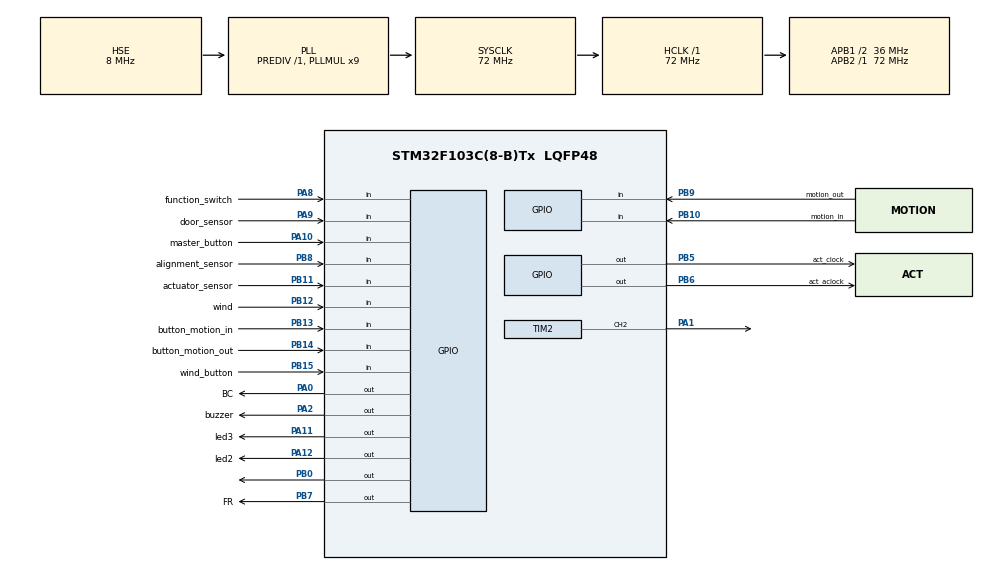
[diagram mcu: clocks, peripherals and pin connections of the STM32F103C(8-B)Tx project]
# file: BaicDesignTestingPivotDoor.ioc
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Mcu.Family=STM32F1
Mcu.Name=STM32F103C(8-B)Tx
Mcu.Package=LQFP48
NVIC.PriorityGroup=NVIC_PRIORITYGROUP_4
PA0-WKUP.GPIO_Label=BC
PA0-WKUP.Signal=GPIO_Output
PA1.Signal=S_TIM2_CH2
PA10.GPIO_Label=master_button
PA10.GPIO_PuPd=GPIO_PULLDOWN
PA10.Signal=GPIO_Input
PA11.GPIO_Label=led3
PA11.GPIO_ModeDefaultOutputPP=GPIO_MODE_OUTPUT_OD
PA11.GPIO_PuPd=GPIO_PULLUP
PA11.PinState=GPIO_PIN_SET
PA11.Signal=GPIO_Output
PA12.GPIO_Label=led2
PA12.GPIO_ModeDefaultOutputPP=GPIO_MODE_OUTPUT_OD
PA12.GPIO_PuPd=GPIO_PULLUP
PA12.PinState=GPIO_PIN_SET
PA12.Signal=GPIO_Output
PA13.Mode=Serial_Wire
PA13.Signal=SYS_JTMS-SWDIO
PA14.Mode=Serial_Wire
PA14.Signal=SYS_JTCK-SWCLK
PA2.GPIO_Label=buzzer
PA2.Signal=GPIO_Output
PA8.GPIO_Label=function_switch
PA8.GPIO_PuPd=GPIO_PULLDOWN
PA8.Signal=GPIO_Input
PA9.GPIO_Label=door_sensor
PA9.GPIO_PuPd=GPIO_PULLDOWN
PA9.Signal=GPIO_Input
PB0.Signal=GPIO_Output
PB10.GPIO_Label=motion_in
PB10.GPIO_PuPd=GPIO_PULLDOWN
PB10.Signal=GPIO_Input
PB11.GPIO_Label=actuator_sensor
PB11.GPIO_PuPd=GPIO_PULLUP
PB11.Signal=GPIO_Input
PB12.GPIO_Label=wind
PB12.Signal=GPIO_Input
PB13.GPIO_Label=button_motion_in
PB13.GPIO_PuPd=GPIO_PULLDOWN
PB13.Signal=GPIO_Input
PB14.GPIO_Label=button_motion_out
PB14.GPIO_PuPd=GPIO_PULLDOWN
PB14.Signal=GPIO_Input
PB15.GPIO_Label=wind_button
PB15.Signal=GPIO_Input
PB5.GPIO_Label=act_clock
PB5.Signal=GPIO_Output
PB6.GPIO_Label=act_aclock
PB6.Signal=GPIO_Output
PB7.GPIO_Label=FR
PB7.Signal=GPIO_Output
PB8.GPIO_Label=alignment_sensor
PB8.GPIO_PuPd=GPIO_PULLUP
PB8.Signal=GPIO_Input
PB9.GPIO_Label=motion_out
PB9.GPIO_PuPd=GPIO_PULLDOWN
PB9.Signal=GPIO_Input
PD0-OSC_IN.Mode=HSE-External-Oscillator
PD0-OSC_IN.Signal=RCC_OSC_IN
PD1-OSC_OUT.Mode=HSE-External-Oscillator
PD1-OSC_OUT.Signal=RCC_OSC_OUT
ProjectManager.HeapSize=0x200
ProjectManager.StackSize=0x400
ProjectManager.TargetToolchain=STM32CubeIDE
RCC.AHBFreq_Value=72000000
RCC.APB1CLKDivider=RCC_HCLK_DIV2
RCC.APB1Freq_Value=36000000
RCC.APB1TimFreq_Value=72000000
RCC.APB2Freq_Value=72000000
RCC.APB2TimFreq_Value=72000000
RCC.HCLKFreq_Value=72000000
RCC.PLLMUL=RCC_PLL_MUL9
RCC.PLLSourceVirtual=RCC_PLLSOURCE_HSE
RCC.SYSCLKFreq_VALUE=72000000
RCC.SYSCLKSource=RCC_SYSCLKSOURCE_PLLCLK
RCC.USBFreq_Value=72000000
SH.S_TIM2_CH2.0=TIM2_CH2,PWM Generation2 CH2
TIM2.AutoReloadPreload=TIM_AUTORELOAD_PRELOAD_ENABLE
TIM2.Channel-PWM\ Generation2\ CH2=TIM_CHANNEL_2
TIM2.OCPolarity_2=TIM_OCPOLARITY_LOW
TIM2.Period=999
TIM2.Prescaler=71
TIM2.Pulse-PWM\ Generation2\ CH2=0
VP_TIM2_VS_ClockSourceINT.Mode=Internal
board=custom

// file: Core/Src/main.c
/* USER CODE BEGIN Header */
/**
  ******************************************************************************
  * @file           : main.c
  * @brief          : Main program body
  ******************************************************************************
  * @attention
  *
  * Copyright (c) 2022 STMicroelectronics.
  * All rights reserved.
  *
  * This software is licensed under terms that can be found in the LICENSE file
  * in the root directory of this software component.
  * If no LICENSE file comes with this software, it is provided AS-IS.
  *
  ******************************************************************************
  */
/* USER CODE END Header */
#include "main.h"

 TIM_HandleTypeDef htim2;

/* USER CODE BEGIN PV */
 //uint32_t count = 0;
/* USER CODE END PV */

void SystemClock_Config(void);
static void MX_GPIO_Init(void);
static void MX_TIM2_Init(void);
/* USER CODE BEGIN PFP */
void initial_system_state(void);
void normal_state(uint8_t);
uint8_t manager_auth(void);
void direction(uint8_t); //O-to open;C- to close
void brake(uint8_t); //1- to brake;0- to release brake
void move_actuator(uint8_t); // L- to lock; U-to unlock;S-to stop
uint8_t actuator_state(void); // returns high when locked
uint8_t door_state(void); // returns high when closed
uint8_t select_system(void); //returns 1-normal operation;return 2-wind sensor master
uint8_t person_present(uint8_t); //input-F-to check front sensor;B-to check back sensor --> returns 1-person present;0-no person
uint8_t wind_sensor_state(void); //returns 1-wind speed high;returns 2-wind speed low
void emergency_close(void);
void remained_open(void);
uint8_t countstates(uint8_t[]);
void move_motor(uint8_t, uint8_t);
/* USER CODE END PFP */

/* USER CODE BEGIN 0 */
#define TOTAL_PULSES 2015
/* USER CODE END 0 */

int main(void)
{

  /* MCU Configuration--------------------------------------------------------*/

  /* Reset of all peripherals, Initializes the Flash interface and the Systick. */
  HAL_Init();

  /* USER CODE BEGIN Init */
 // int32_t CH1_DC = 800;

  /* USER CODE END Init */

  /* Configure the system clock */
  SystemClock_Config();

  /* Initialize all configured peripherals */
  MX_GPIO_Init();
  MX_TIM2_Init();
  /* USER CODE BEGIN 2 */
  HAL_TIM_PWM_Start(&htim2, TIM_CHANNEL_2);
  TIM2->CCR2 =800;
  HAL_Delay(10);
  	initial_system_state();
  /* USER CODE END 2 */

  /* Infinite loop */
  /* USER CODE BEGIN WHILE */

  	while (1) {

  		if (HAL_GPIO_ReadPin(door_sensor_GPIO_Port, door_sensor_Pin)) {
  			remained_open();
  		}
    /* USER CODE END WHILE */

    /* USER CODE BEGIN 3 */
  		/* USER CODE BEGIN 3 */
  				uint8_t select_switch = select_system(); // Selection between motion sensor and wind sensor

  				switch (select_switch) {
  				case 1:
  					TIM2->CCR2 = 900;
  					normal_state(0);
  					break;

  				case 2:
  					if (wind_sensor_state()) {
  						if (!manager_auth()) {
  							emergency_close();
  							while (!manager_auth())
  								;
  						}
  					}
  					normal_state(1);

  					break;
  				}
  			}

  /* USER CODE END 3 */
}

void SystemClock_Config(void)
{
  RCC_OscInitTypeDef RCC_OscInitStruct = {0};
  RCC_ClkInitTypeDef RCC_ClkInitStruct = {0};

  /** Initializes the RCC Oscillators according to the specified parameters
  * in the RCC_OscInitTypeDef structure.
  */
  RCC_OscInitStruct.OscillatorType = RCC_OSCILLATORTYPE_HSE;
  RCC_OscInitStruct.HSEState = RCC_HSE_ON;
  RCC_OscInitStruct.HSEPredivValue = RCC_HSE_PREDIV_DIV1;
  RCC_OscInitStruct.HSIState = RCC_HSI_ON;
  RCC_OscInitStruct.PLL.PLLState = RCC_PLL_ON;
  RCC_OscInitStruct.PLL.PLLSource = RCC_PLLSOURCE_HSE;
  RCC_OscInitStruct.PLL.PLLMUL = RCC_PLL_MUL9;
  if (HAL_RCC_OscConfig(&RCC_OscInitStruct) != HAL_OK)
  {
    Error_Handler();
  }

  /** Initializes the CPU, AHB and APB buses clocks
  */
  RCC_ClkInitStruct.ClockType = RCC_CLOCKTYPE_HCLK|RCC_CLOCKTYPE_SYSCLK
                              |RCC_CLOCKTYPE_PCLK1|RCC_CLOCKTYPE_PCLK2;
  RCC_ClkInitStruct.SYSCLKSource = RCC_SYSCLKSOURCE_PLLCLK;
  RCC_ClkInitStruct.AHBCLKDivider = RCC_SYSCLK_DIV1;
  RCC_ClkInitStruct.APB1CLKDivider = RCC_HCLK_DIV2;
  RCC_ClkInitStruct.APB2CLKDivider = RCC_HCLK_DIV1;

  if (HAL_RCC_ClockConfig(&RCC_ClkInitStruct, FLASH_LATENCY_2) != HAL_OK)
  {
    Error_Handler();
  }
}

static void MX_TIM2_Init(void)
{

  TIM_ClockConfigTypeDef sClockSourceConfig = {0};
  TIM_MasterConfigTypeDef sMasterConfig = {0};
  TIM_OC_InitTypeDef sConfigOC = {0};

  htim2.Instance = TIM2;
  htim2.Init.Prescaler = 71;
  htim2.Init.CounterMode = TIM_COUNTERMODE_UP;
  htim2.Init.Period = 999;
  htim2.Init.ClockDivision = TIM_CLOCKDIVISION_DIV1;
  htim2.Init.AutoReloadPreload = TIM_AUTORELOAD_PRELOAD_ENABLE;
  if (HAL_TIM_Base_Init(&htim2) != HAL_OK)
  {
    Error_Handler();
  }
  sClockSourceConfig.ClockSource = TIM_CLOCKSOURCE_INTERNAL;
  if (HAL_TIM_ConfigClockSource(&htim2, &sClockSourceConfig) != HAL_OK)
  {
    Error_Handler();
  }
  if (HAL_TIM_PWM_Init(&htim2) != HAL_OK)
  {
    Error_Handler();
  }
  sMasterConfig.MasterOutputTrigger = TIM_TRGO_RESET;
  sMasterConfig.MasterSlaveMode = TIM_MASTERSLAVEMODE_DISABLE;
  if (HAL_TIMEx_MasterConfigSynchronization(&htim2, &sMasterConfig) != HAL_OK)
  {
    Error_Handler();
  }
  sConfigOC.OCMode = TIM_OCMODE_PWM1;
  sConfigOC.Pulse = 0;
  sConfigOC.OCPolarity = TIM_OCPOLARITY_LOW;
  sConfigOC.OCFastMode = TIM_OCFAST_DISABLE;
  if (HAL_TIM_PWM_ConfigChannel(&htim2, &sConfigOC, TIM_CHANNEL_2) != HAL_OK)
  {
    Error_Handler();
  }
  HAL_TIM_MspPostInit(&htim2);

}

static void MX_GPIO_Init(void)
{
  GPIO_InitTypeDef GPIO_InitStruct = {0};

  /* GPIO Ports Clock Enable */
  __HAL_RCC_GPIOD_CLK_ENABLE();
  __HAL_RCC_GPIOA_CLK_ENABLE();
  __HAL_RCC_GPIOB_CLK_ENABLE();

  /*Configure GPIO pin Output Level */
  HAL_GPIO_WritePin(GPIOA, BC_Pin|buzzer_Pin, GPIO_PIN_RESET);

  /*Configure GPIO pin Output Level */
  HAL_GPIO_WritePin(GPIOB, GPIO_PIN_0|act_clock_Pin|act_aclock_Pin|FR_Pin, GPIO_PIN_RESET);

  /*Configure GPIO pin Output Level */
  HAL_GPIO_WritePin(GPIOA, led3_Pin|led2_Pin, GPIO_PIN_SET);

  /*Configure GPIO pins : BC_Pin buzzer_Pin */
  GPIO_InitStruct.Pin = BC_Pin|buzzer_Pin;
  GPIO_InitStruct.Mode = GPIO_MODE_OUTPUT_PP;
  GPIO_InitStruct.Pull = GPIO_NOPULL;
  GPIO_InitStruct.Speed = GPIO_SPEED_FREQ_LOW;
  HAL_GPIO_Init(GPIOA, &GPIO_InitStruct);

  /*Configure GPIO pins : PB0 act_clock_Pin act_aclock_Pin FR_Pin */
  GPIO_InitStruct.Pin = GPIO_PIN_0|act_clock_Pin|act_aclock_Pin|FR_Pin;
  GPIO_InitStruct.Mode = GPIO_MODE_OUTPUT_PP;
  GPIO_InitStruct.Pull = GPIO_NOPULL;
  GPIO_InitStruct.Speed = GPIO_SPEED_FREQ_LOW;
  HAL_GPIO_Init(GPIOB, &GPIO_InitStruct);

  /*Configure GPIO pins : motion_in_Pin button_motion_in_Pin button_motion_out_Pin motion_out_Pin */
  GPIO_InitStruct.Pin = motion_in_Pin|button_motion_in_Pin|button_motion_out_Pin|motion_out_Pin;
  GPIO_InitStruct.Mode = GPIO_MODE_INPUT;
  GPIO_InitStruct.Pull = GPIO_PULLDOWN;
  HAL_GPIO_Init(GPIOB, &GPIO_InitStruct);

  /*Configure GPIO pins : actuator_sensor_Pin alignment_sensor_Pin */
  GPIO_InitStruct.Pin = actuator_sensor_Pin|alignment_sensor_Pin;
  GPIO_InitStruct.Mode = GPIO_MODE_INPUT;
  GPIO_InitStruct.Pull = GPIO_PULLUP;
  HAL_GPIO_Init(GPIOB, &GPIO_InitStruct);

  /*Configure GPIO pins : wind_Pin wind_button_Pin */
  GPIO_InitStruct.Pin = wind_Pin|wind_button_Pin;
  GPIO_InitStruct.Mode = GPIO_MODE_INPUT;
  GPIO_InitStruct.Pull = GPIO_NOPULL;
  HAL_GPIO_Init(GPIOB, &GPIO_InitStruct);

  /*Configure GPIO pins : function_switch_Pin door_sensor_Pin master_button_Pin */
  GPIO_InitStruct.Pin = function_switch_Pin|door_sensor_Pin|master_button_Pin;
  GPIO_InitStruct.Mode = GPIO_MODE_INPUT;
  GPIO_InitStruct.Pull = GPIO_PULLDOWN;
  HAL_GPIO_Init(GPIOA, &GPIO_InitStruct);

  /*Configure GPIO pins : led3_Pin led2_Pin */
  GPIO_InitStruct.Pin = led3_Pin|led2_Pin;
  GPIO_InitStruct.Mode = GPIO_MODE_OUTPUT_OD;
  GPIO_InitStruct.Pull = GPIO_PULLUP;
  GPIO_InitStruct.Speed = GPIO_SPEED_FREQ_LOW;
  HAL_GPIO_Init(GPIOA, &GPIO_InitStruct);

}

/* USER CODE BEGIN 4 */

uint8_t person_present(uint8_t side) {

	HAL_Delay(20);
	if (side == 'F')
		return HAL_GPIO_ReadPin(motion_out_GPIO_Port, motion_out_Pin);
	else if (side == 'B')
		return !HAL_GPIO_ReadPin(motion_in_GPIO_Port, motion_in_Pin);
}

void move_actuator(uint8_t state) {
	if (state == 'L') {
		HAL_GPIO_WritePin(act_clock_GPIO_Port, act_clock_Pin, GPIO_PIN_RESET);
		HAL_Delay(20);
		HAL_GPIO_WritePin(act_aclock_GPIO_Port, act_aclock_Pin, GPIO_PIN_SET);
		HAL_Delay(50);
	} else if (state == 'U') {
		HAL_GPIO_WritePin(act_aclock_GPIO_Port, act_aclock_Pin, GPIO_PIN_RESET);
		HAL_Delay(20);
		HAL_GPIO_WritePin(act_clock_GPIO_Port, act_clock_Pin, GPIO_PIN_SET);
		HAL_Delay(50);

	} else if (state == 'S') {
		HAL_GPIO_WritePin(act_aclock_GPIO_Port, act_aclock_Pin, GPIO_PIN_RESET);
		HAL_Delay(20);
		HAL_GPIO_WritePin(act_clock_GPIO_Port, act_clock_Pin, GPIO_PIN_RESET);
		HAL_Delay(50);
	}

}
uint8_t actuator_state(void) {

	HAL_Delay(20);
	return !(HAL_GPIO_ReadPin(actuator_sensor_GPIO_Port, actuator_sensor_Pin));

}
uint8_t door_state(void) {

	HAL_Delay(20);
	return !(HAL_GPIO_ReadPin(alignment_sensor_GPIO_Port, alignment_sensor_Pin));

}
void direction(uint8_t dir) {
	if (dir == 'C')
		HAL_GPIO_WritePin(FR_GPIO_Port, FR_Pin, GPIO_PIN_RESET);
	else if (dir == 'O')
		HAL_GPIO_WritePin(FR_GPIO_Port, FR_Pin, GPIO_PIN_SET);

}

void brake(uint8_t state) {

	if (state)
		HAL_GPIO_WritePin(BC_GPIO_Port, BC_Pin, GPIO_PIN_SET);
	else
		HAL_GPIO_WritePin(BC_GPIO_Port, BC_Pin, GPIO_PIN_RESET);

}
uint8_t wind_sensor_state(void) {

	HAL_Delay(10);
	return HAL_GPIO_ReadPin(wind_button_GPIO_Port, wind_button_Pin);

}

void initial_system_state(void) {
	brake(1);  // Break while door opening
	HAL_Delay(50);

	direction('C');
	HAL_Delay(20);
	brake(0);
	HAL_Delay(20);

	while (!door_state()) {
		HAL_Delay(10);
	}
	brake(1);
	HAL_Delay(20);
	move_actuator('L');
	while (!actuator_state()) {
		HAL_Delay(10);
	}
	move_actuator('S');

}

uint8_t select_system(void) {
	HAL_Delay(10);
	uint8_t system_state = HAL_GPIO_ReadPin(function_switch_GPIO_Port, function_switch_Pin);

	if (system_state)
		return 2;
	else
		return 1;

}

void normal_state(uint8_t override) {
	uint32_t rising_flag = 0;
	char uart_buf[50];
	int uart_buf_len;
 	while (!HAL_GPIO_ReadPin(door_sensor_GPIO_Port, door_sensor_Pin)) {
 		TIM2->CCR2 = 900;
		if (person_present('F') && (!HAL_GPIO_ReadPin(button_motion_out_GPIO_Port, button_motion_out_Pin))) {
			if (actuator_state()) {
				move_actuator('U');
				while (actuator_state()) {
					HAL_Delay(20);
				}
				move_actuator('S');
			}
			/* direction('O');
			 brake(0);
			 HAL_Delay(17000);
			 brake(1);*/
			move_motor('O', 90);
			HAL_Delay(5000);
			direction('C');

			brake(0);
			HAL_Delay(1500);
			TIM2->CCR2 =400;
			HAL_Delay(500);
			while (!door_state()) {HAL_Delay(5);}/*{
				if (!rising_flag) {

					if (HAL_GPIO_ReadPin(wind_GPIO_Port, wind_Pin)) {

						count++;
						rising_flag = 1;
					}
				} else {
					if (!HAL_GPIO_ReadPin(wind_GPIO_Port, wind_Pin)) {

						rising_flag = 0;
					}

				}
				//uart_buf_len = sprintf(uart_buf, "%lu count\r\n", count);
				//HAL_UART_Transmit(&huart1, &uart_buf, uart_buf_len + 1, 100);

				while (person_present('B') && (count < 503)) {
					direction('O');
					brake(0);
					if (!rising_flag) {

						if (HAL_GPIO_ReadPin(wind_GPIO_Port, wind_Pin)) {

							count++;
							rising_flag = 1;
						}
					} else {
						if (!HAL_GPIO_ReadPin(wind_GPIO_Port, wind_Pin)) {

							rising_flag = 0;
						}

					}
					//uart_buf_len = sprintf(uart_buf, "%lu count\r\n", count);
					//HAL_UART_Transmit(&huart1, &uart_buf, uart_buf_len + 1,
						//	100);
					//HAL_Delay(2000);
					// if(!person_present('B'))
					//{

					// }
					//HAL_Delay(200);

					HAL_Delay(200);
				}

				//direction('C');
			}*/
			brake(1);
			if (door_state() && (!override)) {

				move_actuator('L');
				while (!actuator_state()) {
					HAL_Delay(20);
				}
				move_actuator('S');

			}
		} else {
			if (HAL_GPIO_ReadPin(button_motion_out_GPIO_Port, button_motion_out_Pin)) {
				if (person_present('B')) {
					if (actuator_state()) {
						move_actuator('U');
						while (actuator_state()) {
							HAL_Delay(20);
						}
						move_actuator('S');
					}
					direction('O');
					brake(0);
					move_motor('O', 90);
					HAL_Delay(5000);
					direction('C');
					brake(0);
					HAL_Delay(2000);
					TIM2->CCR2 =200 ;
					while (!door_state()) {
						HAL_Delay(50);
					}
					brake(1);
					if (door_state() && (!override)) {

						move_actuator('L');
						while (!actuator_state()) {
							HAL_Delay(20);
						}
						move_actuator('S');

					}
				}

			}
		}

	}
}
void emergency_close(void) {
	if (!door_state()) {

		if (actuator_state()) {
			move_actuator('U');
			while (actuator_state()) {
				HAL_Delay(20);
			}
			move_actuator('S');

		}
		direction('C');
		brake(0);
		HAL_Delay(2000);
		TIM2->CCR2 =200 ;
		while (!door_state()) {
			HAL_Delay(20);
		}
		brake(1);
		move_actuator('L');
		while (!actuator_state()) {
			HAL_Delay(20);
		}
		move_actuator('S');

	}

}
void remained_open(void) {
	if (HAL_GPIO_ReadPin(door_sensor_GPIO_Port, door_sensor_Pin)) {
		if (actuator_state()) {
			move_actuator('U');
			while (actuator_state()) {
				HAL_Delay(20);
			}
			move_actuator('S');
		}
		brake(0);
		move_motor('O', 90);
		//brake(1);
		while (HAL_GPIO_ReadPin(door_sensor_GPIO_Port, door_sensor_Pin)) {
			HAL_Delay(50);
		}
		//direction('C');
		//brake(0);
		//HAL_Delay(2000);
		move_motor('C',100);
		brake(0);
		TIM2->CCR2 =200 ;
		while (!door_state()) {
			HAL_Delay(50);
		}
		brake(1);
		move_actuator('L');
		while (!actuator_state()) {
			HAL_Delay(20);
		}
		move_actuator('S');
	}
}
uint8_t manager_auth(void) {

	HAL_Delay(10);
	return HAL_GPIO_ReadPin(master_button_GPIO_Port, master_button_Pin);
}
uint8_t countstates(uint8_t states[]) {
	uint8_t countpos = 0;
	for (int i = 0; i < (sizeof(states) / sizeof(states[0])); i++) {
		if (states[i] < 1) {
			countpos = 0;
			break;
		} else
			countpos = 1;
	}
	return countpos;

}
void move_motor(uint8_t dir, uint8_t degree) {
	char uart_buf[50];
	int uart_buf_len;
	uint32_t rising_flag = 0;
	uint32_t count= 0;
	uint32_t pulses = 0;
	pulses = (degree * TOTAL_PULSES) / 360;
	direction(dir);
	brake(0);
	while (count < pulses) {
		if (!rising_flag) {

			if (HAL_GPIO_ReadPin(wind_GPIO_Port, wind_Pin)) {

				count++;
				rising_flag = 1;
			}
		} else {
			if (!HAL_GPIO_ReadPin(wind_GPIO_Port, wind_Pin)) {

				rising_flag = 0;
			}

		}

		//for(uint32_t i=0;i<10000;i++);
		//uart_buf_len = sprintf(uart_buf, "%lu count\r\n", count);
		//HAL_UART_Transmit(&huart1, &uart_buf, uart_buf_len + 1, 100);

	}

	brake(1);
}
/* USER CODE END 4 */

void Error_Handler(void)
{
  __disable_irq();
  while (1)
  {
  }
}
